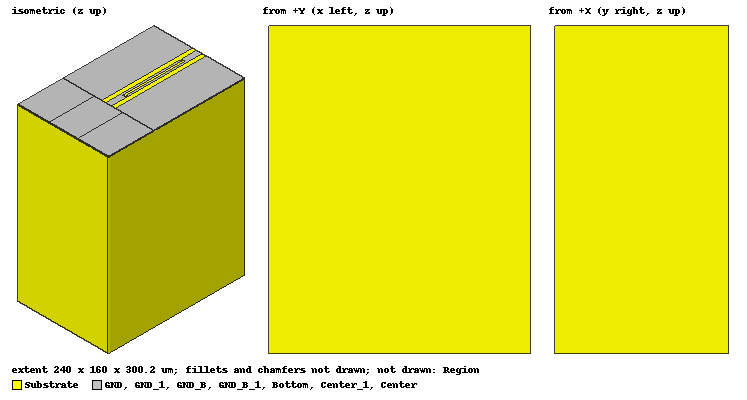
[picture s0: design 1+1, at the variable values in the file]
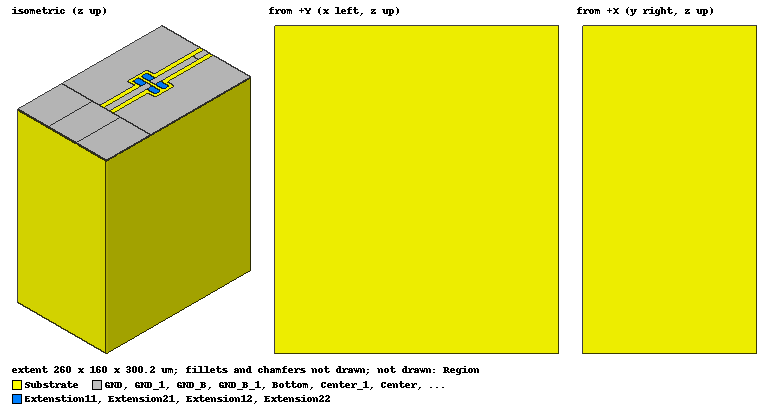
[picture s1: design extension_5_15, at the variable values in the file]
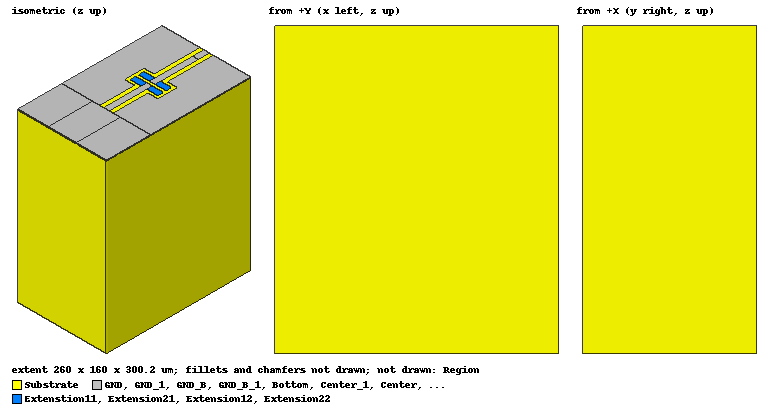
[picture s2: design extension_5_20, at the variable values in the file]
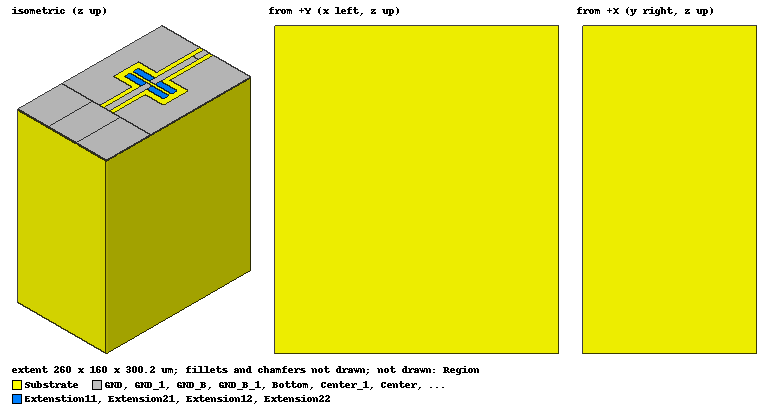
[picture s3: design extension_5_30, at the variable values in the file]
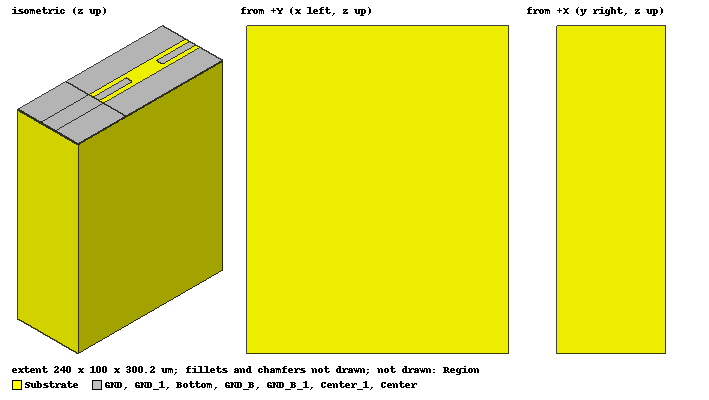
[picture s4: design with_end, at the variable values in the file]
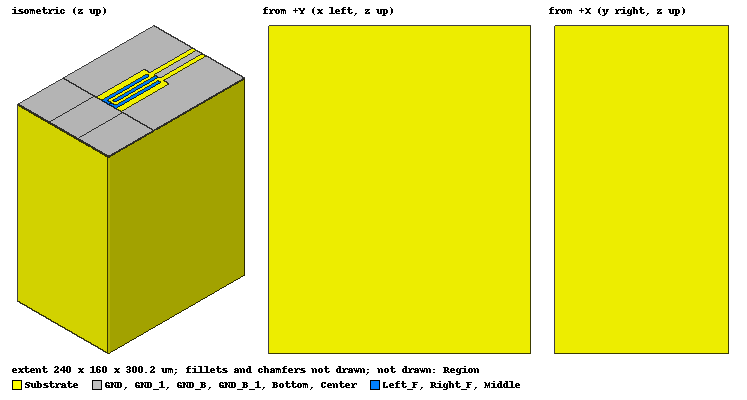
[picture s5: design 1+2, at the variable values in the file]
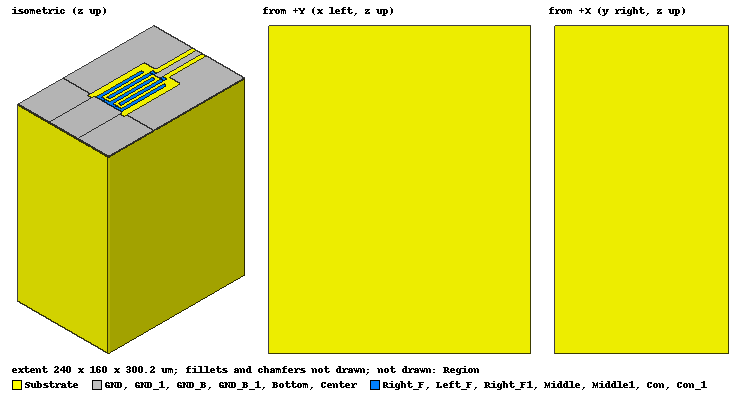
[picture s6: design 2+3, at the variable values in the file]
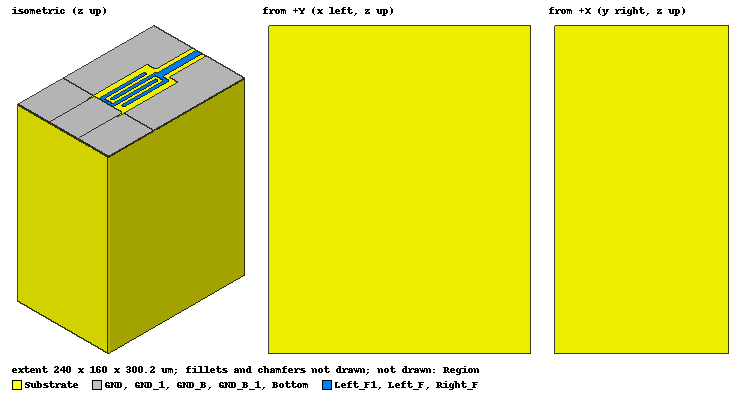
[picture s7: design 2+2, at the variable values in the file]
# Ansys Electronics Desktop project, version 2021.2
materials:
  vacuum: permittivity=1
  aluminum: permeability=1.000021 conductivity=38000000000
  silicon: permittivity=11.6
  silicon_dioxide: permittivity=3.78

design 1+1 (Maxwell 3D, Electrostatic, model units um)
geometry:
  Center [aluminum] = box(corner=(-80um, -5um, 0.55um), size=((30-3.3) um, 10um, 0.2um))
  Center_1 [aluminum] = Center.duplicate_around_axis(axis=Z, angle=180deg, total=2)
  Region [vacuum] = region(percentage_offset=50 on all sides)
  Finger = box(corner=(-53.3um, 5um, 0.55um), size=((100+3.3) um, -3.3um, 0.2um))
  Finger_1 = Finger.duplicate_around_axis(axis=Z, angle=180deg, total=2)
  Center_1.unite(Finger_1)
  Center.unite(Finger)
  Substrate [silicon] = box(corner=(-80um, -80um, -300um), size=((160+80) um, 160um, 300um))
  Bottom [aluminum] = box(corner=(80um, 5um, 0.55um), size=(80um, 20um, 0.2um))
  Bottom.chamfer(Edges=Bottom.edge(11 of 12) LeftDistance=20um RightDistance=80um ChamferType="Left Distance-Right Distance")
  Box1 = box(corner=(80um, -5um, 0.55um), size=(80um, 10um, 0.2um))
  Box3 = box(corner=(80um, 5um, 0.55um), size=(80um, 20um, 0.2um))
  Box3.move(0um, -30um, 0um)
  Box3.chamfer(Edges=Bottom.edge(9 of 12) LeftDistance=80um RightDistance=20um ChamferType="Left Distance-Right Distance")
  Bottom.unite(Box1, Box3)
  GND_B [aluminum] = box(corner=(80um, -12.1um, 0.55um), size=(80um, (-80+5+7.1) um, 0.2um))
  GND_B.chamfer(Edges=GND_B.edge(12 of 12) LeftDistance=80um RightDistance=30um ChamferType="Left Distance-Right Distance")
  GND_B_1 [aluminum] = GND_B.duplicate_mirror(point=(122um, 0um, 0um), normal=(0um, 1um, 0um))
  GND [aluminum] = box(corner=(-80um, -80um, 0.55um), size=(160um, (80-5-7.1) um, 0.2um))
  GND_1 [aluminum] = GND.duplicate_mirror(point=(0um, 0um, 0.55um), normal=(0um, 1um, 0um))
  Bottom_ObjectFromFace1 [aluminum] = object_from(Bottom.face(+x))
  Center_ObjectFromFace1 [aluminum] = object_from(Center.face(-x))
  [Bottom, Center, Center_1, GND, GND_1, GND_B, GND_B_1, Bottom_ObjectFromFace1, Center_ObjectFromFace1].move(0um, 0um, -0.55um)
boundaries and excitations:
  Vout: Voltage Objects=Bottom_ObjectFromFace1 Voltage=-100mV
  Vin: Voltage Objects=Center_ObjectFromFace1 Voltage=100mV
  V_GND: Voltage Faces=GND_1.face(1 of 6) GND.face(+z) GND_B_1.face(3 of 6) GND_B.face(+z) Voltage=0mV
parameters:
  Matrix1: Matrix Vin, Vout: NumberOfTurns=1
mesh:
  initial mesh: GlobalCurvilinear{Apply}
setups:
  Setup1: Electrostatic MaximumPasses=12 MinimumPasses=2 MinimumConvergedPasses=1 PercentRefinement=35 PercentError=1 NonLinearResidual=0.001
  Setup2: Electrostatic MaximumPasses=14 MinimumPasses=2 MinimumConvergedPasses=1 PercentRefinement=35 PercentError=1 NonLinearResidual=0.001
  Setup3: Electrostatic MaximumPasses=12 MinimumPasses=2 MinimumConvergedPasses=1 PercentRefinement=40 PercentError=1 NonLinearResidual=0.001

design extension_5_15 (Maxwell 3D, Electrostatic, model units um)
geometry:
  Substrate [silicon] = box(corner=(-100um, -80um, 0um), size=((180+80) um, 160um, -300um))
  GND [aluminum] = box(corner=(-100um, -80um, 0.55um), size=(180um, (80-5-7.1) um, 0.2um))
  GND_1 [aluminum] = GND.duplicate_mirror(point=(0um, 0um, 0.55um), normal=(0um, 1um, 0um))
  Center [aluminum] = box(corner=(-80um, -5um, 0.55um), size=((80-5/2) um, 10um, 0.2um))
  Center_1 [aluminum] = Center.duplicate_around_axis(axis=Z, angle=180deg, total=2)
  Box1 = box(corner=(80um, -5um, 0.55um), size=(80um, 10um, 0.2um))
  Bottom [aluminum] = box(corner=(80um, 5um, 0.55um), size=(80um, 20um, 0.2um))
  Box3 = box(corner=(80um, 5um, 0.55um), size=(80um, 20um, 0.2um))
  Box3.move(0um, -30um, 0um)
  Bottom.chamfer(Edges=Bottom.edge(11 of 12) LeftDistance=20um RightDistance=80um ChamferType="Left Distance-Right Distance")
  Box3.chamfer(Edges=Bottom.edge(9 of 12) LeftDistance=80um RightDistance=20um ChamferType="Left Distance-Right Distance")
  Bottom.unite(Box1, Box3)
  GND_B [aluminum] = box(corner=(80um, (-5-7.1) um, 0.55um), size=(80um, (-80+5+7.1) um, 0.2um))
  GND_B.chamfer(Edges=GND_B.edge(12 of 12) LeftDistance=80um RightDistance=30um ChamferType="Left Distance-Right Distance")
  GND_B_1 [aluminum] = GND_B.duplicate_mirror(point=(122um, 0um, 0um), normal=(0um, 1um, 0um))
  Bottom_ObjectFromFace1 [aluminum] = object_from(Bottom.face(+x))
  [Bottom, Center, Center_1, GND, GND_1, GND_B, GND_B_1, Bottom_ObjectFromFace1].move(0um, 0um, -0.55um)
  Box4 = box(corner=(-12.5um, -5um, 0um), size=(25um, (-7.1-10) um, 0.2um))
  Box4_1 = Box4.duplicate_mirror(point=(0um, 0um, 0um), normal=(0um, 1um, 0um))
  GND.subtract(Box4)
  GND_1.subtract(Box4_1)
  Extenstion11 [aluminum] = box(corner=(-2.5um, -5um, 0um), size=(-10um, -15um, 0.2um))
  Extension21 [aluminum] = Extenstion11.duplicate_mirror(point=(0um, 0um, 0um), normal=(1um, 0um, 0um))
  Extension12 [aluminum] = Extenstion11.duplicate_mirror(point=(0um, 0um, 0um), normal=(0um, 1um, 0um))
  Extension22 [aluminum] = Extension21.duplicate_mirror(point=(0um, 0um, 0um), normal=(0um, 1um, 0um))
  Box5 = box(corner=(-17.5um, -12.1um, 0um), size=(35um, -10um, 0.2um))
  Box5_1 = Box5.duplicate_mirror(point=(0um, 0um, 0um), normal=(0um, 1um, 0um))
  GND.subtract(Box5)
  GND_1.subtract(Box5_1)
  Center_Long [aluminum] = box(corner=(-80um, 5um, 0um), size=(-20um, -10um, 0.2um))
  Center_Long_ObjectFromFace1 [aluminum] = object_from(Center_Long.face(-x))
  Box6 = box(corner=(-17.5um, -22.1um, 0um), size=(35um, 2.1um, 0.2um))
  Box6.move(0um, -2.1um, 0um)
  Box6_1 = Box6.duplicate_mirror(point=(0um, 0um, 0um), normal=(0um, 1um, 0um))
  GND.subtract(Box6)
  GND_1.subtract(Box6_1)
  Region [vacuum] = region(percentage_offset=30 on all sides)
  Box7 = box(corner=(-17.5um, -24.2um, 0um), size=(35um, -0.8um, 0.2um))
  Box7_1 = Box7.duplicate_mirror(point=(0um, 0um, 0um), normal=(0um, 1um, 0um))
  GND.subtract(Box7)
  GND_1.subtract(Box7_1)
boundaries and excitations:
  Vout: Voltage Objects=Bottom_ObjectFromFace1 Voltage=-100mV
  V_GND: Voltage Objects=[GND, GND_B, GND_B_1, GND_1] Voltage=0mV
  Vin: Voltage Objects=Center_Long_ObjectFromFace1 Voltage=100mV
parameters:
  Matrix1: Matrix Vout, Vin: NumberOfTurns=1
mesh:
  initial mesh: GlobalCurvilinear{Apply}
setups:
  Setup1: Electrostatic MaximumPasses=12 MinimumPasses=2 MinimumConvergedPasses=1 PercentRefinement=35 PercentError=1 NonLinearResidual=0.001

design extension_5_20 (Maxwell 3D, Electrostatic, model units um)
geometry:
  Substrate [silicon] = box(corner=(-100um, -80um, 0um), size=((180+80) um, 160um, -300um))
  GND [aluminum] = box(corner=(-100um, -80um, 0.55um), size=(180um, (80-5-7.1) um, 0.2um))
  GND_1 [aluminum] = GND.duplicate_mirror(point=(0um, 0um, 0.55um), normal=(0um, 1um, 0um))
  Center [aluminum] = box(corner=(-80um, -5um, 0.55um), size=((80-5/2) um, 10um, 0.2um))
  Center_1 [aluminum] = Center.duplicate_around_axis(axis=Z, angle=180deg, total=2)
  Box1 = box(corner=(80um, -5um, 0.55um), size=(80um, 10um, 0.2um))
  Bottom [aluminum] = box(corner=(80um, 5um, 0.55um), size=(80um, 20um, 0.2um))
  Box3 = box(corner=(80um, 5um, 0.55um), size=(80um, 20um, 0.2um))
  Box3.move(0um, -30um, 0um)
  Bottom.chamfer(Edges=Bottom.edge(11 of 12) LeftDistance=20um RightDistance=80um ChamferType="Left Distance-Right Distance")
  Box3.chamfer(Edges=Bottom.edge(9 of 12) LeftDistance=80um RightDistance=20um ChamferType="Left Distance-Right Distance")
  Bottom.unite(Box1, Box3)
  GND_B [aluminum] = box(corner=(80um, (-5-7.1) um, 0.55um), size=(80um, (-80+5+7.1) um, 0.2um))
  GND_B.chamfer(Edges=GND_B.edge(12 of 12) LeftDistance=80um RightDistance=30um ChamferType="Left Distance-Right Distance")
  GND_B_1 [aluminum] = GND_B.duplicate_mirror(point=(122um, 0um, 0um), normal=(0um, 1um, 0um))
  Bottom_ObjectFromFace1 [aluminum] = object_from(Bottom.face(+x))
  [Bottom, Center, Center_1, GND, GND_1, GND_B, GND_B_1, Bottom_ObjectFromFace1].move(0um, 0um, -0.55um)
  Box4 = box(corner=(-12.5um, -5um, 0um), size=(25um, (-7.1-10) um, 0.2um))
  Box4_1 = Box4.duplicate_mirror(point=(0um, 0um, 0um), normal=(0um, 1um, 0um))
  GND.subtract(Box4)
  GND_1.subtract(Box4_1)
  Extenstion11 [aluminum] = box(corner=(-2.5um, -5um, 0um), size=(-10um, -20um, 0.2um))
  Extension21 [aluminum] = Extenstion11.duplicate_mirror(point=(0um, 0um, 0um), normal=(1um, 0um, 0um))
  Extension12 [aluminum] = Extenstion11.duplicate_mirror(point=(0um, 0um, 0um), normal=(0um, 1um, 0um))
  Extension22 [aluminum] = Extension21.duplicate_mirror(point=(0um, 0um, 0um), normal=(0um, 1um, 0um))
  Box5 = box(corner=(-17.5um, -12.1um, 0um), size=(35um, -10um, 0.2um))
  Box5_1 = Box5.duplicate_mirror(point=(0um, 0um, 0um), normal=(0um, 1um, 0um))
  GND.subtract(Box5)
  GND_1.subtract(Box5_1)
  Center_Long [aluminum] = box(corner=(-80um, 5um, 0um), size=(-20um, -10um, 0.2um))
  Center_Long_ObjectFromFace1 [aluminum] = object_from(Center_Long.face(-x))
  Box6 = box(corner=(-17.5um, -22.1um, 0um), size=(35um, 2.1um, 0.2um))
  Box6.move(0um, -2.1um, 0um)
  Box6_1 = Box6.duplicate_mirror(point=(0um, 0um, 0um), normal=(0um, 1um, 0um))
  GND.subtract(Box6)
  GND_1.subtract(Box6_1)
  Region [vacuum] = region(percentage_offset=30 on all sides)
  Box7 = box(corner=(-17.5um, -24.2um, 0um), size=(35um, -0.8um, 0.2um))
  Box7_1 = Box7.duplicate_mirror(point=(0um, 0um, 0um), normal=(0um, 1um, 0um))
  GND.subtract(Box7)
  GND_1.subtract(Box7_1)
  Box8 = box(corner=(-17.5um, -25um, 0um), size=(35um, -5um, 0.2um))
  Box8_1 = Box8.duplicate_mirror(point=(0um, 0um, 0um), normal=(0um, 1um, 0um))
  GND.subtract(Box8)
  GND_1.subtract(Box8_1)
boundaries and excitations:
  Vout: Voltage Objects=Bottom_ObjectFromFace1 Voltage=-100mV
  V_GND: Voltage Objects=[GND, GND_B, GND_B_1, GND_1] Voltage=0mV
  Vin: Voltage Objects=Center_Long_ObjectFromFace1 Voltage=100mV
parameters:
  Matrix1: Matrix Vout, Vin: NumberOfTurns=1
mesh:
  initial mesh: GlobalCurvilinear{Apply}
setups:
  Setup1: Electrostatic MaximumPasses=12 MinimumPasses=2 MinimumConvergedPasses=1 PercentRefinement=35 PercentError=1 NonLinearResidual=0.001

design extension_5_30 (Maxwell 3D, Electrostatic, model units um)
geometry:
  Substrate [silicon] = box(corner=(-100um, -80um, 0um), size=((180+80) um, 160um, -300um))
  GND [aluminum] = box(corner=(-100um, -80um, 0.55um), size=(180um, (80-5-7.1) um, 0.2um))
  GND_1 [aluminum] = GND.duplicate_mirror(point=(0um, 0um, 0.55um), normal=(0um, 1um, 0um))
  Center [aluminum] = box(corner=(-80um, -5um, 0.55um), size=((80-5/2) um, 10um, 0.2um))
  Center_1 [aluminum] = Center.duplicate_around_axis(axis=Z, angle=180deg, total=2)
  Box1 = box(corner=(80um, -5um, 0.55um), size=(80um, 10um, 0.2um))
  Bottom [aluminum] = box(corner=(80um, 5um, 0.55um), size=(80um, 20um, 0.2um))
  Box3 = box(corner=(80um, 5um, 0.55um), size=(80um, 20um, 0.2um))
  Box3.move(0um, -30um, 0um)
  Bottom.chamfer(Edges=Bottom.edge(11 of 12) LeftDistance=20um RightDistance=80um ChamferType="Left Distance-Right Distance")
  Box3.chamfer(Edges=Bottom.edge(9 of 12) LeftDistance=80um RightDistance=20um ChamferType="Left Distance-Right Distance")
  Bottom.unite(Box1, Box3)
  GND_B [aluminum] = box(corner=(80um, (-5-7.1) um, 0.55um), size=(80um, (-80+5+7.1) um, 0.2um))
  GND_B.chamfer(Edges=GND_B.edge(12 of 12) LeftDistance=80um RightDistance=30um ChamferType="Left Distance-Right Distance")
  GND_B_1 [aluminum] = GND_B.duplicate_mirror(point=(122um, 0um, 0um), normal=(0um, 1um, 0um))
  Bottom_ObjectFromFace1 [aluminum] = object_from(Bottom.face(+x))
  [Bottom, Center, Center_1, GND, GND_1, GND_B, GND_B_1, Bottom_ObjectFromFace1].move(0um, 0um, -0.55um)
  Box4 = box(corner=(-12.5um, -5um, 0um), size=(25um, (-7.1-10) um, 0.2um))
  Box4_1 = Box4.duplicate_mirror(point=(0um, 0um, 0um), normal=(0um, 1um, 0um))
  GND.subtract(Box4)
  GND_1.subtract(Box4_1)
  Extenstion11 [aluminum] = box(corner=(-2.5um, -5um, 0um), size=(-10um, -30um, 0.2um))
  Extension21 [aluminum] = Extenstion11.duplicate_mirror(point=(0um, 0um, 0um), normal=(1um, 0um, 0um))
  Extension12 [aluminum] = Extenstion11.duplicate_mirror(point=(0um, 0um, 0um), normal=(0um, 1um, 0um))
  Extension22 [aluminum] = Extension21.duplicate_mirror(point=(0um, 0um, 0um), normal=(0um, 1um, 0um))
  Box5 = box(corner=(-17.5um, -12.1um, 0um), size=(35um, -10um, 0.2um))
  Box5_1 = Box5.duplicate_mirror(point=(0um, 0um, 0um), normal=(0um, 1um, 0um))
  GND.subtract(Box5)
  GND_1.subtract(Box5_1)
  Center_Long [aluminum] = box(corner=(-80um, 5um, 0um), size=(-20um, -10um, 0.2um))
  Center_Long_ObjectFromFace1 [aluminum] = object_from(Center_Long.face(-x))
  Box6 = box(corner=(-17.5um, -22.1um, 0um), size=(35um, 2.1um, 0.2um))
  Box6.move(0um, -2.1um, 0um)
  Box6_1 = Box6.duplicate_mirror(point=(0um, 0um, 0um), normal=(0um, 1um, 0um))
  GND.subtract(Box6)
  GND_1.subtract(Box6_1)
  Region [vacuum] = region(percentage_offset=30 on all sides)
  Box7 = box(corner=(-17.5um, -24.2um, 0um), size=(35um, -0.8um, 0.2um))
  Box7_1 = Box7.duplicate_mirror(point=(0um, 0um, 0um), normal=(0um, 1um, 0um))
  GND.subtract(Box7)
  GND_1.subtract(Box7_1)
  Box8 = box(corner=(-17.5um, -25um, 0um), size=(35um, -15um, 0.2um))
  Box8_1 = Box8.duplicate_mirror(point=(0um, 0um, 0um), normal=(0um, 1um, 0um))
  GND.subtract(Box8)
  GND_1.subtract(Box8_1)
  Box9 = box(corner=(-22.5um, -12.1um, 0um), size=(45um, (-27.9-5) um, 0.2um))
  Box9_1 = Box9.duplicate_mirror(point=(0um, 0um, 0um), normal=(0um, 1um, 0um))
  GND.subtract(Box9)
  GND_1.subtract(Box9_1)
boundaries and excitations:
  Vout: Voltage Objects=Bottom_ObjectFromFace1 Voltage=-100mV
  V_GND: Voltage Objects=[GND, GND_B, GND_B_1, GND_1] Voltage=0mV
  Vin: Voltage Objects=Center_Long_ObjectFromFace1 Voltage=100mV
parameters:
  Matrix1: Matrix Vout, Vin: NumberOfTurns=1
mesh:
  initial mesh: GlobalCurvilinear{Apply}
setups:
  Setup1: Electrostatic MaximumPasses=12 MinimumPasses=2 MinimumConvergedPasses=1 PercentRefinement=35 PercentError=1 NonLinearResidual=0.001

design with_end (Maxwell 3D, Electrostatic, model units um)
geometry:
  Substrate [silicon] = box(corner=(-80um, -50um, -300um), size=((160+80) um, 100um, 300um))
  GND [aluminum] = box(corner=(-80um, -50um, 0.55um), size=(160um, (50-5-7.1) um, 0.2um))
  GND_1 [aluminum] = GND.duplicate_mirror(point=(0um, 0um, 0.55um), normal=(0um, 1um, 0um))
  Center [aluminum] = box(corner=(-80um, -5um, 0.55um), size=((80-50/2) um, 10um, 0.2um))
  Center_1 [aluminum] = Center.duplicate_around_axis(axis=Z, angle=180deg, total=2)
  Region [vacuum] = region(percentage_offset=50 on all sides)
  Box1 = box(corner=(80um, -5um, 0.55um), size=(80um, 10um, 0.2um))
  Bottom [aluminum] = box(corner=(80um, 5um, 0.55um), size=(80um, 20um, 0.2um))
  Box3 = box(corner=(80um, 5um, 0.55um), size=(80um, 20um, 0.2um))
  Box3.move(0um, -30um, 0um)
  Bottom.chamfer(Edges=Bottom.edge(11 of 12) LeftDistance=20um RightDistance=80um ChamferType="Left Distance-Right Distance")
  Box3.chamfer(Edges=Bottom.edge(9 of 12) LeftDistance=80um RightDistance=20um ChamferType="Left Distance-Right Distance")
  Bottom.unite(Box1, Box3)
  GND_B [aluminum] = box(corner=(80um, -12.1um, 0.55um), size=(80um, -37.9um, 0.2um))
  GND_B.chamfer(Edges=GND_B.edge(12 of 12) LeftDistance=80um RightDistance=30um ChamferType="Left Distance-Right Distance")
  GND_B_1 [aluminum] = GND_B.duplicate_mirror(point=(122um, 0um, 0um), normal=(0um, 1um, 0um))
  Bottom_ObjectFromFace1 [aluminum] = object_from(Bottom.face(+x))
  Center_ObjectFromFace1 [aluminum] = object_from(Center.face(-x))
  [GND, GND_B, Bottom, Center_1, Center, GND_1, GND_B_1, Bottom_ObjectFromFace1, Center_ObjectFromFace1].move(0um, 0um, -0.75um)
  [GND_B, Bottom, GND, Center_1, Center, GND_1, GND_B_1, Bottom_ObjectFromFace1, Center_ObjectFromFace1].move(0um, 0um, 0.2um)
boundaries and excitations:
  V_GND: Voltage Objects=[GND_B, GND, GND_1, GND_B_1] Voltage=0mV
  Vin: Voltage Objects=Center_ObjectFromFace1 Voltage=100mV
  Vout: Voltage Objects=Bottom_ObjectFromFace1 Voltage=-100mV
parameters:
  Matrix1: Matrix Vin, Vout: NumberOfTurns=1
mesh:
  initial mesh: GlobalCurvilinear{Apply}
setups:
  Setup1: Electrostatic MaximumPasses=13 MinimumPasses=2 MinimumConvergedPasses=1 PercentRefinement=35 PercentError=1 NonLinearResidual=0.001

design 1+2 (Maxwell 3D, Electrostatic, model units um)
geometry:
  Substrate [silicon] = box(corner=(-80um, -80um, -300um), size=((160+80) um, 160um, 300um))
  GND [aluminum] = box(corner=(-80um, -80um, 0.55um), size=(160um, (80-5-7.1) um, 0.2um))
  GND_1 [aluminum] = GND.duplicate_mirror(point=(0um, 0um, 0.55um), normal=(0um, 1um, 0um))
  Center [aluminum] = box(corner=(-80um, -5um, 0.55um), size=((80-5) um, 10um, 0.2um))
  Region [vacuum] = region(percentage_offset=50 on all sides)
  Box1 = box(corner=(80um, -5um, 0.55um), size=(80um, 10um, 0.2um))
  Bottom [aluminum] = box(corner=(80um, 5um, 0.55um), size=(80um, 20um, 0.2um))
  Box3 = box(corner=(80um, 5um, 0.55um), size=(80um, 20um, 0.2um))
  Box3.move(0um, -30um, 0um)
  Bottom.chamfer(Edges=Bottom.edge(11 of 12) LeftDistance=20um RightDistance=80um ChamferType="Left Distance-Right Distance")
  Box3.chamfer(Edges=Bottom.edge(9 of 12) LeftDistance=80um RightDistance=20um ChamferType="Left Distance-Right Distance")
  Bottom.unite(Box1, Box3)
  GND_B [aluminum] = box(corner=(80um, -12.1um, 0.55um), size=(80um, (-80+5+7.1) um, 0.2um))
  GND_B.chamfer(Edges=GND_B.edge(12 of 12) LeftDistance=80um RightDistance=30um ChamferType="Left Distance-Right Distance")
  GND_B_1 [aluminum] = GND_B.duplicate_mirror(point=(122um, 0um, 0um), normal=(0um, 1um, 0um))
  Bottom_ObjectFromFace1 [aluminum] = object_from(Bottom.face(+x))
  Center_ObjectFromFace1 [aluminum] = object_from(Center.face(-x))
  [GND, GND_B, Bottom, Center, GND_1, GND_B_1, Bottom_ObjectFromFace1, Center_ObjectFromFace1].move(0um, 0um, -0.55um)
  Middle [aluminum] = box(corner=(-5um, -2.5um, 0um), size=(75um, 5um, 0.2um))
  Left_F [aluminum] = box(corner=(0um, -7.5um, 0um), size=(80um, -5um, 0.2um))
  Box6 = box(corner=(80um, -7.5um, 0um), size=(-5um, 7.5um, 0.2um))
  Left_F.unite(Box6)
  Right_F [aluminum] = Left_F.duplicate_mirror(point=(0um, 0um, 0um), normal=(0um, 1um, 0um))
  Box7 = box(corner=(-5um, -5um, 0um), size=(50um, (-7.1-10) um, 0.2um))
  Box7_1 = Box7.duplicate_mirror(point=(0um, 0um, 0um), normal=(0um, 1um, 0um))
  GND.subtract(Box7)
  GND_1.subtract(Box7_1)
  Box8 = box(corner=(-5um, -12.1um, 0um), size=(112um, -10um, 0.2um))
  Box8_1 = Box8.duplicate_mirror(point=(0um, 0um, 0um), normal=(0um, 1um, 0um))
  Box8_2 = Box8.copy()
  GND.subtract(Box8_2)
  GND_B.subtract(Box8)
  Box8_1_1 = Box8_1.copy()
  GND_1.subtract(Box8_1_1)
  GND_B_1.subtract(Box8_1)
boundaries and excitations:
  V_GND: Voltage Objects=[GND_B, GND, GND_1, GND_B_1] Voltage=0mV
  Vin: Voltage Objects=Center_ObjectFromFace1 Voltage=100mV
  Vout: Voltage Objects=Bottom_ObjectFromFace1 Voltage=-100mV
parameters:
  Matrix1: Matrix Vin, Vout: NumberOfTurns=1
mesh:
  initial mesh: GlobalCurvilinear{Apply}
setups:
  Setup1: Electrostatic MaximumPasses=13 MinimumPasses=2 MinimumConvergedPasses=1 PercentRefinement=35 PercentError=1 NonLinearResidual=0.001

design 2+3 (Maxwell 3D, Electrostatic, model units um)
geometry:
  Substrate [silicon] = box(corner=(-80um, -80um, -300um), size=((160+80) um, 160um, 300um))
  GND [aluminum] = box(corner=(-80um, -80um, 0.55um), size=(160um, (80-5-7.1) um, 0.2um))
  GND_1 [aluminum] = GND.duplicate_mirror(point=(0um, 0um, 0.55um), normal=(0um, 1um, 0um))
  Center [aluminum] = box(corner=(-80um, -5um, 0.55um), size=((80-5) um, 10um, 0.2um))
  Region [vacuum] = region(percentage_offset=50 on all sides)
  Box1 = box(corner=(80um, -5um, 0.55um), size=(80um, 10um, 0.2um))
  Bottom [aluminum] = box(corner=(80um, 5um, 0.55um), size=(80um, 20um, 0.2um))
  Box3 = box(corner=(80um, 5um, 0.55um), size=(80um, 20um, 0.2um))
  Box3.move(0um, -30um, 0um)
  Bottom.chamfer(Edges=Bottom.edge(11 of 12) LeftDistance=20um RightDistance=80um ChamferType="Left Distance-Right Distance")
  Box3.chamfer(Edges=Bottom.edge(9 of 12) LeftDistance=80um RightDistance=20um ChamferType="Left Distance-Right Distance")
  Bottom.unite(Box1, Box3)
  GND_B [aluminum] = box(corner=(80um, -12.1um, 0.55um), size=(80um, (-80+5+7.1) um, 0.2um))
  GND_B.chamfer(Edges=GND_B.edge(12 of 12) LeftDistance=80um RightDistance=30um ChamferType="Left Distance-Right Distance")
  GND_B_1 [aluminum] = GND_B.duplicate_mirror(point=(122um, 0um, 0um), normal=(0um, 1um, 0um))
  Bottom_ObjectFromFace1 [aluminum] = object_from(Bottom.face(+x))
  Center_ObjectFromFace1 [aluminum] = object_from(Center.face(-x))
  [GND, GND_B, Bottom, Center, GND_1, GND_B_1, Bottom_ObjectFromFace1, Center_ObjectFromFace1].move(0um, 0um, -0.55um)
  Middle [aluminum] = box(corner=(-5um, -2.5um, 0um), size=(75um, 5um, 0.2um))
  Left_F [aluminum] = box(corner=(0um, -7.5um, 0um), size=(80um, -5um, 0.2um))
  Box6 = box(corner=(80um, -7.5um, 0um), size=(-5um, 7.5um, 0.2um))
  Left_F.unite(Box6)
  Right_F [aluminum] = Left_F.duplicate_mirror(point=(0um, 0um, 0um), normal=(0um, 1um, 0um))
  Box7 = box(corner=(-5um, -5um, 0um), size=(50um, (-7.1-10) um, 0.2um))
  Box7_1 = Box7.duplicate_mirror(point=(0um, 0um, 0um), normal=(0um, 1um, 0um))
  GND.subtract(Box7)
  GND_1.subtract(Box7_1)
  Box8 = box(corner=(-5um, -12.1um, 0um), size=(112um, -10um, 0.2um))
  Box8_1 = Box8.duplicate_mirror(point=(0um, 0um, 0um), normal=(0um, 1um, 0um))
  Box8_2 = Box8.copy()
  GND.subtract(Box8_2)
  GND_B.subtract(Box8)
  Box8_1_1 = Box8_1.copy()
  GND_1.subtract(Box8_1_1)
  GND_B_1.subtract(Box8_1)
  [Left_F, Right_F, Middle].move(0um, -10um, 0um)
  Middle1 [aluminum] = box(corner=(-5um, -2.5um, 0um), size=(75um, 5um, 0.2um))
  Middle1.move(0um, -10um, 0um)
  Left_F1 = box(corner=(0um, -7.5um, 0um), size=(80um, -5um, 0.2um))
  Box9 = box(corner=(80um, -7.5um, 0um), size=(-5um, 7.5um, 0.2um))
  Left_F1.unite(Box9)
  Right_F1 [aluminum] = Left_F1.duplicate_mirror(point=(0um, 0um, 0um), normal=(0um, 1um, 0um))
  [Left_F1, Right_F1].move(0um, -10um, 0um)
  [Middle1, Left_F1, Right_F1].move(0um, 20um, 0um)
  Right_F.unite(Left_F1)
  Box10 = box(corner=(-15um, (-22.1-10) um, 0um), size=(100um, (44.2+20) um, 0.2um))
  Box10_1 = Box10.copy()
  GND.subtract(Box10_1)
  Box10_2 = Box10.copy()
  GND_B.subtract(Box10_2)
  Box10_3 = Box10.copy()
  GND_1.subtract(Box10_3)
  GND_B_1.subtract(Box10)
  Con [aluminum] = box(corner=(-5um, -5um, 0um), size=(-5um, -7.5um, 0.2um))
  Con_1 [aluminum] = Con.duplicate_mirror(point=(-4um, 0um, 0um), normal=(0um, 1um, 0um))
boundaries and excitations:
  V_GND: Voltage Objects=[GND_B, GND, GND_1, GND_B_1] Voltage=0mV
  Vin: Voltage Objects=Center_ObjectFromFace1 Voltage=100mV
  Vout: Voltage Objects=Bottom_ObjectFromFace1 Voltage=-100mV
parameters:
  Matrix1: Matrix Vin, Vout: NumberOfTurns=1
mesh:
  initial mesh: GlobalCurvilinear{Apply}
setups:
  Setup1: Electrostatic MaximumPasses=13 MinimumPasses=2 MinimumConvergedPasses=1 PercentRefinement=35 PercentError=1 NonLinearResidual=0.001

design 2+2 (Maxwell 3D, Electrostatic, model units um)
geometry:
  Substrate [silicon] = box(corner=(-80um, -80um, -300um), size=((160+80) um, 160um, 300um))
  GND [aluminum] = box(corner=(-80um, -80um, 0.55um), size=(160um, (80-5-7.1) um, 0.2um))
  GND_1 [aluminum] = GND.duplicate_mirror(point=(0um, 0um, 0.55um), normal=(0um, 1um, 0um))
  Center = box(corner=(-80um, -5um, 0.55um), size=((80-5) um, 10um, 0.2um))
  Region [vacuum] = region(percentage_offset=50 on all sides)
  Box1 = box(corner=(80um, -5um, 0.55um), size=(80um, 10um, 0.2um))
  Bottom [aluminum] = box(corner=(80um, 5um, 0.55um), size=(80um, 20um, 0.2um))
  Box3 = box(corner=(80um, 5um, 0.55um), size=(80um, 20um, 0.2um))
  Box3.move(0um, -30um, 0um)
  Bottom.chamfer(Edges=Bottom.edge(11 of 12) LeftDistance=20um RightDistance=80um ChamferType="Left Distance-Right Distance")
  Box3.chamfer(Edges=Bottom.edge(9 of 12) LeftDistance=80um RightDistance=20um ChamferType="Left Distance-Right Distance")
  Bottom.unite(Box1, Box3)
  GND_B [aluminum] = box(corner=(80um, -12.1um, 0.55um), size=(80um, (-80+5+7.1) um, 0.2um))
  GND_B.chamfer(Edges=GND_B.edge(12 of 12) LeftDistance=80um RightDistance=30um ChamferType="Left Distance-Right Distance")
  GND_B_1 [aluminum] = GND_B.duplicate_mirror(point=(122um, 0um, 0um), normal=(0um, 1um, 0um))
  Bottom_ObjectFromFace1 [aluminum] = object_from(Bottom.face(+x))
  Center_ObjectFromFace1 [aluminum] = object_from(Left_F1.face(4 of 6))
  [GND, GND_B, Bottom, Center, GND_1, GND_B_1, Bottom_ObjectFromFace1, Center_ObjectFromFace1].move(0um, 0um, -0.55um)
  Left_F [aluminum] = box(corner=(0um, -7.5um, 0um), size=(80um, -5um, 0.2um))
  Box6 = box(corner=(80um, -7.5um, 0um), size=(-5um, 7.5um, 0.2um))
  Left_F.unite(Box6)
  Right_F [aluminum] = Left_F.duplicate_mirror(point=(0um, 0um, 0um), normal=(0um, 1um, 0um))
  Box7 = box(corner=(-5um, -5um, 0um), size=(50um, (-7.1-10) um, 0.2um))
  Box7_1 = Box7.duplicate_mirror(point=(0um, 0um, 0um), normal=(0um, 1um, 0um))
  GND.subtract(Box7)
  GND_1.subtract(Box7_1)
  Box8 = box(corner=(-5um, -12.1um, 0um), size=(112um, -10um, 0.2um))
  Box8_1 = Box8.duplicate_mirror(point=(0um, 0um, 0um), normal=(0um, 1um, 0um))
  Box8_2 = Box8.copy()
  GND.subtract(Box8_2)
  GND_B.subtract(Box8)
  Box8_1_1 = Box8_1.copy()
  GND_1.subtract(Box8_1_1)
  GND_B_1.subtract(Box8_1)
  [Left_F, Right_F].move(0um, -10um, 0um)
  Left_F1 [aluminum] = box(corner=(0um, -7.5um, 0um), size=(80um, -5um, 0.2um))
  Box9 = box(corner=(80um, -7.5um, 0um), size=(-5um, 7.5um, 0.2um))
  Left_F1.unite(Box9)
  Right_F1 = Left_F1.duplicate_mirror(point=(0um, 0um, 0um), normal=(0um, 1um, 0um))
  [Left_F1, Right_F1].move(0um, -10um, 0um)
  [Left_F1, Right_F1].mirror(point=(0um, 8um, 0um), normal=(-1um, 0um, 0um))
  [Left_F1, Right_F1].move(70um, 10um, -0.2um)
  [Right_F1, Left_F1, Right_F, Left_F].move(0um, 6um, 0um)
  [Left_F1, Right_F1, Right_F, Left_F].move(0um, -1um, 0um)
  [Right_F1, Left_F1].move(0um, 0um, 0.2um)
  Box10 = box(corner=(-10um, (-22.1-5) um, 0um), size=(100um, (44.2+10) um, 0.2um))
  Box10_1 = Box10.copy()
  GND.subtract(Box10_1)
  Box10_2 = Box10.copy()
  GND_1.subtract(Box10_2)
  Box10_3 = Box10.copy()
  GND_B.subtract(Box10_3)
  GND_B_1.subtract(Box10)
  Left_F1.unite(Right_F1, Center)
  Box11 = box(corner=(-15um, -27.1um, 0um), size=(15.5um, 54.2um, 0.2um))
  Box11_1 = Box11.copy()
  GND.subtract(Box11_1)
  GND_1.subtract(Box11)
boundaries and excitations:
  V_GND: Voltage Objects=[GND_B, GND, GND_1, GND_B_1] Voltage=0mV
  Vin: Voltage Objects=Center_ObjectFromFace1 Voltage=100mV
  Vout: Voltage Objects=Bottom_ObjectFromFace1 Voltage=-100mV
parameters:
  Matrix1: Matrix Vin, Vout: NumberOfTurns=1
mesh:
  initial mesh: GlobalCurvilinear{Apply}
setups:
  Setup1: Electrostatic MaximumPasses=13 MinimumPasses=2 MinimumConvergedPasses=1 PercentRefinement=35 PercentError=1 NonLinearResidual=0.001
